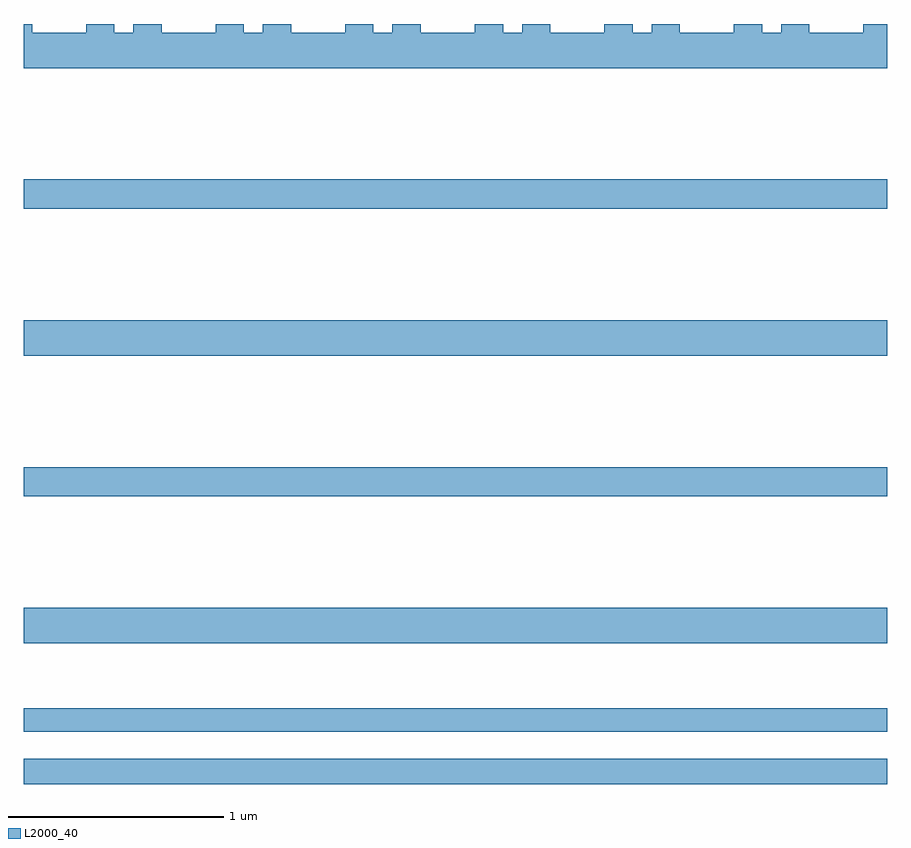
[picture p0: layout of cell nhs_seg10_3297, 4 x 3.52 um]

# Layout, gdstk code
import gdstk
lib = gdstk.Library(unit=1e-6, precision=1e-09)
def R(c, l, rs):  # rectangles x0, y0, x1, y1
    for r in rs: c.add(gdstk.rectangle(r[:2], r[2:], *l))
def P(c, l, *ps):  # polygons
    for p in ps: c.add(gdstk.Polygon(p, *l))
L2000_40 = (2000, 40)

nhs_seg10_3297 = lib.new_cell('nhs_seg10_3297')
R(nhs_seg10_3297, L2000_40, [(289,1316.98,293,1317.096), (289,1317.222,293,1317.331), (289,1317.632,293,1317.796), (289,1318.312,293,1318.448), (289,1318.964,293,1319.128), (289,1319.644,293,1319.78)])
P(nhs_seg10_3297, L2000_40, [(291.089,1320.5),(291.089,1320.46),(290.839,1320.46),(290.839,1320.5),(290.708,1320.5),(290.708,1320.46),(290.62,1320.46),(290.62,1320.5),(290.489,1320.5),(290.489,1320.46),(290.239,1320.46),(290.239,1320.5),(290.108,1320.5),(290.108,1320.46),(290.02,1320.46),(290.02,1320.5),(289.889,1320.5),(289.889,1320.46),(289.639,1320.46),(289.639,1320.5),(289.508,1320.5),(289.508,1320.46),(289.42,1320.46),(289.42,1320.5),(289.289,1320.5),(289.289,1320.46),(289.039,1320.46),(289.039,1320.5),(289,1320.5),(289,1320.296),(293,1320.296),(293,1320.5),(292.889,1320.5),(292.889,1320.46),(292.639,1320.46),(292.639,1320.5),(292.508,1320.5),(292.508,1320.46),(292.42,1320.46),(292.42,1320.5),(292.289,1320.5),(292.289,1320.46),(292.039,1320.46),(292.039,1320.5),(291.908,1320.5),(291.908,1320.46),(291.82,1320.46),(291.82,1320.5),(291.689,1320.5),(291.689,1320.46),(291.439,1320.46),(291.439,1320.5),(291.308,1320.5),(291.308,1320.46),(291.22,1320.46),(291.22,1320.5)])

lib.write_gds('nhs_seg10_3297.gds')
